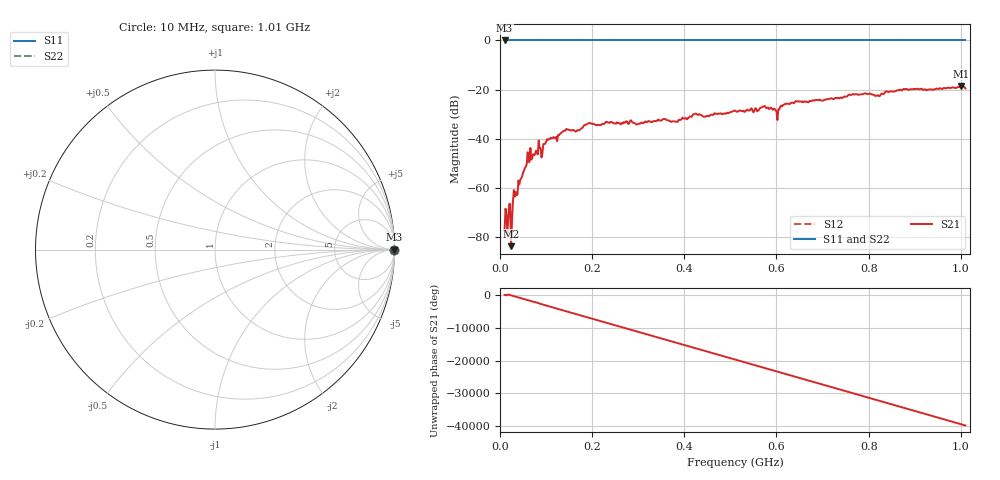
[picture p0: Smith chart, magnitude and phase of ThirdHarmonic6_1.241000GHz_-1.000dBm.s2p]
! 8/16/2025 1:11:27 PM
! C:\ANRITSUVNA\TEMP\TEMP.S2P
! CHANNEL.1
! TR.MEASUREMENT
! RAW.DATA
! RF.CORRECTION.OFF
! AVERAGING.OFF
! IF.BANDWIDTH: 5KHZ
! SWEEPTYPE:  FREQ.SWEEP(Linear)
! Reference Plane Port Info
! PORT:  PORT1  PORT2
! DISTANCE:  0  m  0  m
! TIME:  0  s  0  s
! PHASE.OFFSET:  0  deg.  0  deg.
! LOSS:  0  dB  0  dB
! REF.LOSS:  0  dB  0  dB
! REF.FREQ:  0  Hz  0  Hz
! Power Info
! POWER:  -20  dBm  -20  dBm
! EFF.POWER:  -20  dBm  -20  dBm
! SOURCE.ATTEN:  0  dB  0  dB
! TEST.ATTEN:  0  dB  0  dB
# GHZ S RI R 50.0
! FREQ.GHZ  S11RE  S11IM  S21RE  S21IM  S12RE  S12IM  S22RE  S22IM
!; PortSelection: Port_12
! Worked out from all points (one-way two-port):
!   501 points, 10 MHz to 1.01 GHz, reference 50 ohm
!   highest |S21| = -18.52 dB at 1 GHz (marker M1); lowest = -83.6 dB at 24 MHz (marker M2)
!   lowest |S11| = 0.0 dB at 10 MHz (marker M3)
!   |S11| at or under -10 dB: nowhere
!   |S22| runs from 0.0 to 0.0 dB; largest |S21 - S12| = 1.1
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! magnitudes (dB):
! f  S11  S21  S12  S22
! 10 MHz  0.0  -76.7  0.0  0.0
! 20 MHz  0.0  -66.5  0.0  0.0
! 24 MHz  0.0  -83.6  0.0  0.0
! 28 MHz  0.0  -65.7  0.0  0.0
! 32 MHz  0.0  -63.5  0.0  0.0
! 62 MHz  0.0  -49.3  0.0  0.0
! 92 MHz  0.0  -45.9  0.0  0.0
! 106 MHz  0.0  -40.1  0.0  0.0
! 142 MHz  0.0  -36.7  0.0  0.0
! 178 MHz  0.0  -35.6  0.0  0.0
! 192 MHz  0.0  -33.7  0.0  0.0
! 344 MHz  0.0  -32.1  0.0  0.0
! 382 MHz  0.0  -32.9  0.0  0.0
! 422 MHz  0.0  -29.8  0.0  0.0
! 510 MHz  0.0  -28.5  0.0  0.0
! 572 MHz  0.0  -26.8  0.0  0.0
! 602 MHz  0.0  -32.4  0.0  0.0
! 620 MHz  0.0  -25.7  0.0  0.0
! 678 MHz  0.0  -24.5  0.0  0.0
! 844 MHz  0.0  -21.0  0.0  0.0
! 1 GHz  0.0  -18.5  0.0  0.0
! 1.01 GHz  0.0  -19.5  0.0  0.0
